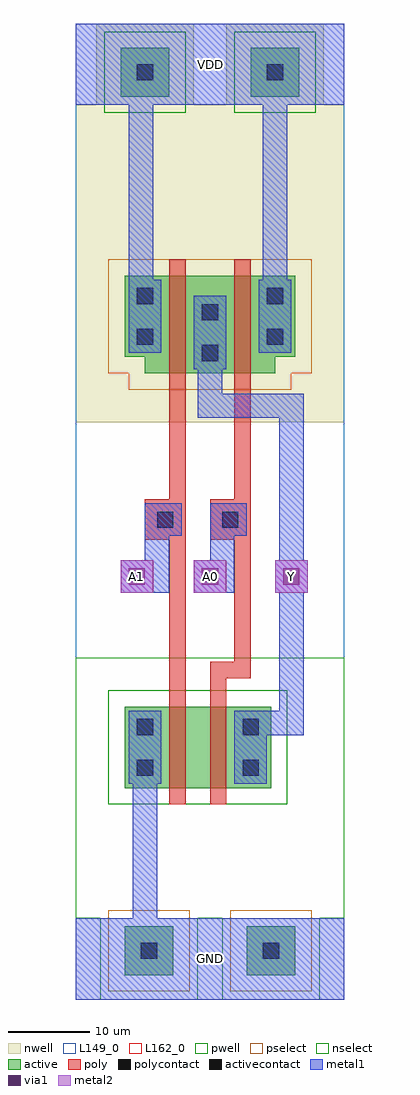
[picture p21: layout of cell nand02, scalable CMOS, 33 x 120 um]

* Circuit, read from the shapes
.subckt nand02 A0 A1 GND VDD Y
M1 n1 A1 GND GND nfet w=10u l=2u
M2 Y A0 n1 GND nfet w=10u l=2u
M3 Y A1 VDD VDD pfet w=12u l=2u
M4 VDD A0 Y VDD pfet w=12u l=2u
.ends

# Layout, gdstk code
import gdstk
lib = gdstk.Library(unit=1e-6, precision=1e-09)
def R(c, l, rs):  # rectangles x0, y0, x1, y1
    for r in rs: c.add(gdstk.rectangle(r[:2], r[2:], *l))
def P(c, l, *ps):  # polygons
    for p in ps: c.add(gdstk.Polygon(p, *l))
pwell = (41, 0)
nwell = (42, 0)
active = (43, 0)
pselect = (44, 0)
nselect = (45, 0)
poly = (46, 0)
polycontact = (47, 0)
activecontact = (48, 0)
metal1 = (49, 0)
via1 = (50, 0)
metal2 = (51, 0)
L149_0 = (149, 0)
L162_0 = (162, 0)

pwell_contact = lib.new_cell('pwell_contact')
R(pwell_contact, pwell, [(-6,-6,6,5)])
R(pwell_contact, active, [(-3,-3,3,3)])
R(pwell_contact, pselect, [(-5,-5,5,5)])
R(pwell_contact, activecontact, [(-1,-1,1,1)])

nwell_contact = lib.new_cell('nwell_contact')
R(nwell_contact, nwell, [(-6,-5,6,6)])
R(nwell_contact, active, [(-3,-3,3,3)])
R(nwell_contact, nselect, [(-5,-5,5,5)])
R(nwell_contact, activecontact, [(-1,-1,1,1)])

via = lib.new_cell('via')
R(via, metal1, [(-2,-2,2,2)])
R(via, via1, [(-1,-1,1,1)])
R(via, metal2, [(-2,-2,2,2)])

nand02 = lib.new_cell('nand02')
R(nand02, pwell, [(0,10,33,20), (0,10,33,42), (0,20,30,42)])
R(nand02, nwell, [(0,71,33,110), (0,95,33,110)])
P(nand02, nwell, [(30.5,71),(30.5,73),(33,73),(33,95),(0,95),(0,73),(2.5,73),(2.5,71)])
R(nand02, active, [(6,26,24,36)])
P(nand02, active, [(24.5,77),(24.5,79),(27,79),(27,89),(21.5,89),(21.5,77)],
  [(24.5,77),(24.5,79),(27,79),(27,89),(6,89),(6,79),(8.5,79),(8.5,77)],
  [(11.5,77),(11.5,89),(6,89),(6,79),(8.5,79),(8.5,77)])
P(nand02, pselect, [(26.5,75),(26.5,77),(29,77),(29,91),(4,91),(4,77),(6.5,77),(6.5,75)])
R(nand02, nselect, [(4,24,26,38)])
R(nand02, poly, [(11.5,24,13.5,26), (16.5,24,18.5,26), (11.5,26,13.5,36), (16.5,26,18.5,36), (11.5,36,13.5,38), (16.5,36,18.5,38), (8.5,56.5,13.5,61.5), (16.5,56.5,21.5,61.5), (11.5,75,13.5,77), (19.5,75,21.5,77), (11.5,77,13.5,89), (19.5,77,21.5,89), (11.5,89,13.5,91), (19.5,89,21.5,91)])
R(nand02, polycontact, [(10,58,12,60), (18,58,20,60)])
R(nand02, activecontact, [(7.5,27.5,9.5,29.5), (20.5,27.5,22.5,29.5), (7.5,32.5,9.5,34.5), (20.5,32.5,22.5,34.5), (15.5,78.5,17.5,80.5), (7.5,80.5,9.5,82.5), (23.5,80.5,25.5,82.5), (15.5,83.5,17.5,85.5), (7.5,85.5,9.5,87.5), (23.5,85.5,25.5,87.5)])
R(nand02, metal1, [(0,0,33,10), (0,0,33,10), (6.5,26.5,10.5,35.5), (19.5,26.5,23.5,35.5), (9,57,13,61), (17,57,21,61), (14.5,77.5,18.5,86.5), (6.5,79.5,10.5,88.5), (22.5,79.5,26.5,88.5), (0,110,33,120), (0,110,33,120)])
R(nand02, metal2, [(5.5,50,9.5,54), (14.5,50,18.5,54), (24.5,50,28.5,54)])
R(nand02, L149_0, [(0,0,33,10), (0,0,33,10), (0,0,33,120), (9,57,13,61), (17,57,21,61), (0,110,33,120), (0,110,33,120)])
R(nand02, L162_0, [(5.5,50,9.5,54), (14.5,50,18.5,54), (24.5,50,28.5,54)])
nand02.add(gdstk.FlexPath([(8.5,26.5),(8.5,10)], 3, ends="flush", simple_path=True, layer=149, datatype=0))  # L149_0
nand02.add(gdstk.FlexPath([(16.5,77.5),(16.5,73),(26.5,73),(26.5,34),(23.5,34)], 3, ends="flush", simple_path=True, layer=149, datatype=0))  # L149_0
nand02.add(gdstk.FlexPath([(24.5,88.5),(24.5,110)], 3, ends="flush", simple_path=True, layer=149, datatype=0))  # L149_0
nand02.add(gdstk.FlexPath([(10,61),(10,50)], 3, ends="flush", simple_path=True, layer=149, datatype=0))  # L149_0
nand02.add(gdstk.FlexPath([(18,61),(18,50)], 3, ends="flush", simple_path=True, layer=149, datatype=0))  # L149_0
nand02.add(gdstk.FlexPath([(8,88.5),(8,110)], 3, ends="flush", simple_path=True, layer=149, datatype=0))  # L149_0
nand02.add(gdstk.FlexPath([(8.5,26.5),(8.5,10)], 3, ends="flush", simple_path=True, layer=49, datatype=0))  # metal1
nand02.add(gdstk.FlexPath([(16.5,77.5),(16.5,73),(26.5,73),(26.5,34),(23.5,34)], 3, ends="flush", simple_path=True, layer=49, datatype=0))  # metal1
nand02.add(gdstk.FlexPath([(24.5,88.5),(24.5,110)], 3, ends="flush", simple_path=True, layer=49, datatype=0))  # metal1
nand02.add(gdstk.FlexPath([(10,61),(10,50)], 3, ends="flush", simple_path=True, layer=49, datatype=0))  # metal1
nand02.add(gdstk.FlexPath([(18,61),(18,50)], 3, ends="flush", simple_path=True, layer=49, datatype=0))  # metal1
nand02.add(gdstk.FlexPath([(8,88.5),(8,110)], 3, ends="flush", simple_path=True, layer=49, datatype=0))  # metal1
nand02.add(gdstk.FlexPath([(20.5,75),(20.5,40.5),(17.5,40.5),(17.5,38)], 2, ends="flush", simple_path=True, layer=46, datatype=0))  # poly
nand02.add(gdstk.FlexPath([(12.5,75),(12.5,38)], 2, ends="flush", simple_path=True, layer=46, datatype=0))  # poly
nand02.add(gdstk.Reference(pwell_contact, (24,6)))
nand02.add(gdstk.Reference(pwell_contact, (9,6)))
nand02.add(gdstk.Reference(nwell_contact, (24.5,114)))
nand02.add(gdstk.Reference(nwell_contact, (8.5,114)))
nand02.add(gdstk.Reference(via, (26.5,52)))
nand02.add(gdstk.Reference(via, (16.5,52)))
nand02.add(gdstk.Reference(via, (7.5,52)))
nand02.add(gdstk.Label('A1', (7.5,52), layer=3, texttype=0))
nand02.add(gdstk.Label('A0', (16.5,52), layer=3, texttype=0))
nand02.add(gdstk.Label('Y', (26.5,52), layer=3, texttype=0))
nand02.add(gdstk.Label('GND', (16.5,5), layer=2, texttype=0))
nand02.add(gdstk.Label('VDD', (16.5,115), layer=2, texttype=0))

lib.write_gds('nand02.gds')
